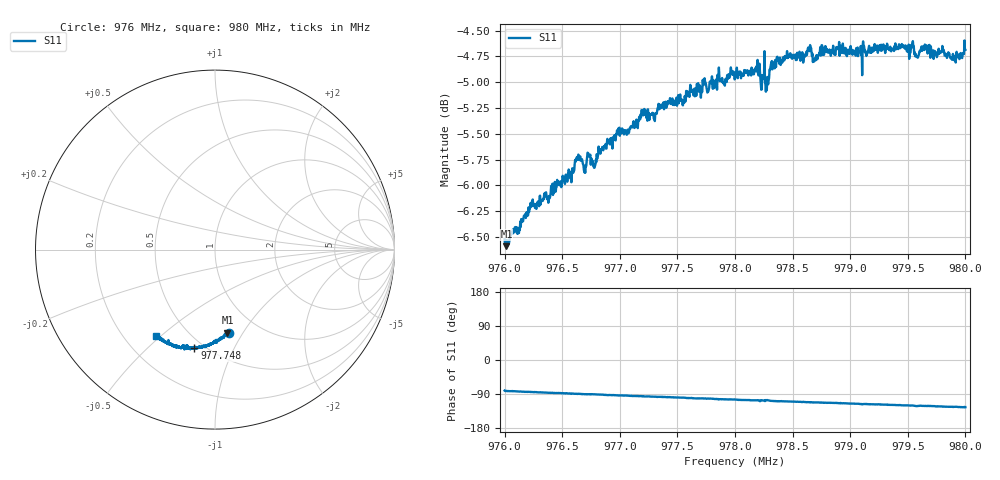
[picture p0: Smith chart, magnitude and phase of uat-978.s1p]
! Calibrated averaged scanner-service zoom
# Hz S RI R 50
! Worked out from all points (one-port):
!   1001 points, 976 MHz to 980 MHz, reference 50 ohm
!   lowest |S11| = -6.6 dB at 976.016 MHz (marker M1), VSWR 2.76, Z = 36.1 - j42.9 ohm
!   |S11| at or under -10 dB: nowhere
!   S11 on the Smith chart (normalised r, x): 976 MHz: 0.73, -0.87; 977.748 MHz: 0.44, -0.71; 980 MHz: 0.33, -0.48
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9.76e8  0.0756 -0.4657
9.76016e8  0.0695 -0.4631
9.76228e8  0.0457 -0.4885
9.765e8  0.0231 -0.5034
9.76632e8  0.00563 -0.5165
9.76776e8  -0.00532 -0.5111
9.77e8  -0.0324 -0.5287
9.77204e8  -0.0566 -0.539
9.775e8  -0.0848 -0.543
9.7766e8  -0.1088 -0.5479
9.77748e8  -0.1144 -0.5492
9.77868e8  -0.1304 -0.5478
9.78e8  -0.14 -0.5469
9.782e8  -0.1576 -0.5456
9.78284e8  -0.1572 -0.5397
9.78316e8  -0.1785 -0.5464
9.78352e8  -0.1827 -0.5444
9.785e8  -0.1955 -0.5438
9.79e8  -0.246 -0.5282
9.79052e8  -0.248 -0.5288
9.791e8  -0.2606 -0.5231
9.79248e8  -0.2659 -0.5202
9.795e8  -0.2874 -0.5058
9.7954e8  -0.2938 -0.5081
9.79576e8  -0.3043 -0.4919
9.79668e8  -0.3038 -0.4975
9.79888e8  -0.3182 -0.4823
9.8e8  -0.3308 -0.4801
